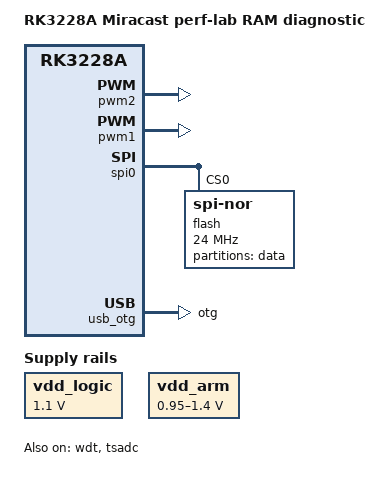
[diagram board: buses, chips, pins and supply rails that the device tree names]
// SPDX-License-Identifier: (GPL-2.0+ OR MIT)
// Graphics profile plus the stock firmware's multimedia clock plan.
#include "rk3228a-miracast-graphics.dts"
#include <dt-bindings/thermal/thermal.h>

/ {
    // The TV UI's default output is 1080p60 (rootfs/ui-session follows video=): booting the
    // console in the same mode lets the UI take over without an HDMI re-sync. No cursor.
    chosen {
        bootargs = "console=tty0 loglevel=4 printk.time=1 rdinit=/init panic=0 clk_ignore_unused pd_ignore_unused cpuidle.off=1 video=HDMI-A-1:1920x1080-16@60 vt.global_cursor_default=0 cma=16M";
    };
};
/ {
    model = "RK3228A Miracast perf-lab RAM diagnostic";
    // vdd_logic (GPU, VOP, DDR controller) from the stock DTB: PWM2 (GPIO1_B4,
    // same pin/function as upstream pwm2_pin), 25 us period, 1.0..1.3 V,
    // coefficient 300 => linear 3 mV per duty-%. Polarity is unconfirmed, but
    // 50 % duty is the midpoint of the range under either polarity: 1.15 V,
    // the stock voltage for GPU 500/600 MHz (400 MHz needed 1.10 V).
    // Per-OPP voltage assumes the stock driver formula (duty% = (1.3 V - V) / 3 mV,
    // i.e. more duty = lower voltage: 1.10 V = 67 %, 1.05 V = 83 %). If the
    // polarity is the opposite, 67 % / 83 % give 1.20 / 1.25 V instead: still
    // inside the stock 1.0..1.3 V range, only hotter. The 400 MHz point stays at
    // the polarity-independent 50 %. A fixed-load temperature A/B at 200 vs 400
    // MHz tells which way it is (lower voltage => cooler).
    // Lower points (83 % and 67 % duty) each ended in a boot stall at a random
    // point soon after the regulator was set (11 Nov), consistent with too little
    // voltage under the stock formula (stock applied +50..100 mV leakage adjust
    // to its DDR table). Back to the proven fixed 1.15 V for every OPP.
    vdd_logic: regulator-vdd-logic {
        compatible = "pwm-regulator";
        pwms = <&pwm2 0 25000 0>;
        regulator-name = "vdd_logic";
        // Polarity measured 12 Nov (idle thermal A/B: duty 60 % ran 3 C cooler
        // than 40 %): V = 1.30 V - 0.30 V * duty, as for vdd_arm. Floor measured
        // with memtest + GPU soak at 93-95 C: 1.050 V 243 DRAM errors, 1.075 V
        // 1 error, 1.100 V clean for 5 min (all the bit 1/17 DQ signature; the
        // DDR controller/PHY sets the floor, not the GPU, at DDR600).
        // With DDR533 (default since 12 Nov) heavy 4-thread memtest was clean at
        // 1.05 and 1.10 V; 1.10 V = stock voltage for GPU 400 MHz, and 50 mV above
        // a clean point. 67 % duty = 1.099 V.
        voltage-table = <1100000 67>;
        regulator-min-microvolt = <1100000>;
        regulator-max-microvolt = <1100000>;
        regulator-settling-time-up-us = <2000>;
        regulator-always-on;
        regulator-boot-on;
    };
    // vdd_arm from the stock DTB: PWM1 (GPIO0_D6, same as upstream pwm1_pin),
    // 2 us period, 0.95..1.40 V, linear. Polarity measured 12 Nov (thermal A/B
    // at a fixed 408 MHz 4-core load: duty 33 % ran 5 C hotter than 67 %):
    // V = 1.40 V - 0.45 V * duty, the stock driver formula. Continuous mode:
    // 100 % duty = 0.95 V, 0 % = 1.40 V.
    vdd_arm: regulator-vdd-arm {
        compatible = "pwm-regulator";
        pwms = <&pwm1 0 2000 0>;
        regulator-name = "vdd_arm";
        pwm-dutycycle-range = <100 0>;
        regulator-min-microvolt = <950000>;
        regulator-max-microvolt = <1400000>;
        regulator-settling-time-up-us = <1000>;
        regulator-always-on;
        regulator-boot-on;
    };
    // Stock CPU DVFS points (408/600/816 MHz) at the fixed vdd_arm above.
    // CPU DVFS: stock 408/600/816 MHz needed 0.95/0.975/1.00 V (+ leakage
    // adjust up to 150 mV); start at stock + ~50..100 mV. 1008/1200 MHz are the
    // upstream rk322x points (1.175/1.275 V), left out until validated.
    cpu_opp_lab: opp-table-cpu-lab {
        compatible = "operating-points-v2";
        opp-shared;
        opp-408000000 { opp-hz = /bits/ 64 <408000000>; opp-microvolt = <1000000>; clock-latency-ns = <40000>; };
        opp-600000000 { opp-hz = /bits/ 64 <600000000>; opp-microvolt = <1050000>; clock-latency-ns = <40000>; };
        opp-816000000 { opp-hz = /bits/ 64 <816000000>; opp-microvolt = <1100000>; clock-latency-ns = <40000>; };
        // NOT YET VALIDATED (run, but DRAM errors masked the CPU result):
        // opp-1008000000 @ 1175000, opp-1200000000 @ 1275000 (upstream points).
    };
    // Booting without clk_ignore_unused/pd_ignore_unused stalled right after
    // cpufreq init (11 Nov): keep both until the culprit clock/domain is found
    // (output/experiment/ has a DTB without them).

};
&pwm2 { status = "okay"; };
&pwm1 { status = "okay"; };
// SMP (12 Nov): all four Cortex-A7 cores. There is no secure monitor, but
// Linux runs in secure SVC, so the BootROM's secondary-core mailbox works as on
// RK3036 (and as OP-TEE's RK322x PSCI uses it): after its core reset the
// secondary waits in WFE until SRAM+4 = 0xDEADBEAF, then jumps to SRAM+8.
// The CONFIG_SMP=y kernel sets ACTLR.SMP on every core itself (proc-v7) and
// the timer node is "not-fw-configured", so the secondaries need no CNTFRQ/
// CNTVOFF setup. cpu0 is back at its real MPIDR 0xf00 (the UP kernel needed 0).
/ {
    int_sram: sram@10080000 {
        compatible = "mmio-sram";
        reg = <0x10080000 0x1000>;
        #address-cells = <1>;
        #size-cells = <1>;
        ranges = <0 0x10080000 0x1000>;
        smp-sram@0 {
            compatible = "rockchip,rk3066-smp-sram";
            reg = <0x00 0x10>;
        };
    };
};
&cpu0 { reg = <0xf00>; enable-method = "rockchip,rk3036-smp"; operating-points-v2 = <&cpu_opp_lab>; cpu-supply = <&vdd_arm>; };
&cpu1 { status = "okay"; enable-method = "rockchip,rk3036-smp"; operating-points-v2 = <&cpu_opp_lab>; };
&cpu2 { status = "okay"; enable-method = "rockchip,rk3036-smp"; operating-points-v2 = <&cpu_opp_lab>; };
&cpu3 { status = "okay"; enable-method = "rockchip,rk3036-smp"; operating-points-v2 = <&cpu_opp_lab>; };
// Hardware watchdog (dw_wdt); userspace `watchdog` daemon feeds it (rootfs/init).
&wdt { status = "okay"; };
// Disabling the decoder/RGA nodes (so genpd's sync_state could power their
// domains off) was part of the stalled boots; left enabled until tested alone.
// GPU DVFS (Lima devfreq, simple_ondemand) on exact CPLL dividers, with
// per-OPP vdd_logic (above). 400 MHz soaked clean at 1.15 V;
// the remaining limit was heat (shutdown at the 90 C critical trip).
/ {
    gpu_opp_table: opp-table-gpu {
        compatible = "operating-points-v2";
        opp-200000000 { opp-hz = /bits/ 64 <200000000>; opp-microvolt = <1100000>; };
        opp-300000000 { opp-hz = /bits/ 64 <300000000>; opp-microvolt = <1100000>; };
        opp-400000000 { opp-hz = /bits/ 64 <400000000>; opp-microvolt = <1100000>; };
    };
};
&gpu {
    operating-points-v2 = <&gpu_opp_table>;
    mali-supply = <&vdd_logic>;
    #cooling-cells = <2>;
};
// Throttle instead of shutting down, using the stock thermal policy as the
// reference: stock throttled (CPU only) around target-temp 95 C and reset the
// SoC in hardware at 120 C; its GPU had no thermal limit. Here the GPU steps
// 400 -> 300 MHz at 90 C and 300 -> 200 MHz at 95 C (2 C hysteresis each).
// Above the passive trips userspace takes over (15 Nov, ../../../os/thermald.c): throttle levels at
// 100 and 104 C and an emergency cooldown at 108 C (111 C at once) that turns the video
// output off for a minute instead of rebooting. The kernel's critical trip is only the
// last resort for a dead daemon, so it moved from 110 to 115 C to leave the cooldown room
// (the daemon itself gives up at 113 C); the hardware reset moved with it to the stock
// firmware's 120 C (TSADC code table and SoC rating end at 125 C).
&cpu_alert0 { temperature = <90000>; };
&cpu_alert1 { temperature = <95000>; };
&cpu_crit { temperature = <115000>; };
&cpu_thermal {
    cooling-maps {
        map-gpu0 {
            trip = <&cpu_alert0>;
            cooling-device = <&gpu THERMAL_NO_LIMIT 1>;
        };
        map-gpu1 {
            trip = <&cpu_alert1>;
            cooling-device = <&gpu 1 THERMAL_NO_LIMIT>;
        };
        // 3 CPU OPPs (states 0..2 = 816..408 MHz): 600 MHz at 90 C, 408 MHz at
        // 95 C. Voltage follows the OPP (vdd_arm DVFS). With 1008/1200 MHz use
        // <NO_LIMIT 2> / <2 NO_LIMIT>.
        map0 { cooling-device = <&cpu0 THERMAL_NO_LIMIT 1>; };
        map1 { cooling-device = <&cpu0 1 THERMAL_NO_LIMIT>; };
    };
};
// The USB helper leaves CPLL locked at 500 MHz but in slow (24 MHz) mode with
// no users, and runs VOP/GPU AXI from GPLL 384 MHz / 2 = 192 MHz. That VOP
// rate cannot fetch 4K60 scanout (~2 GB/s). The stock vendor kernel used
// aclk_vop = 400 MHz and GPU 400..600 MHz (DVFS). Put both on CPLL = 1200 MHz
// (stock GPLL rate) so GPLL-derived bus/USB/peripheral clocks stay unchanged.
// Rates are exact CPLL dividers (index 0), so the composite keeps CPLL and
// never selects the mode-dependent HDMI PHY clock. GPU boots at 300 MHz;
// higher rates are tested at runtime (writable clk debugfs in this kernel).
&cru {
    assigned-clocks = <&cru PLL_CPLL>, <&cru ACLK_VOP_PRE>, <&cru ACLK_GPU>;
    assigned-clock-rates = <1200000000>, <400000000>, <300000000>;
};
// Temperature telemetry and a hardware over-temperature reset (120 C, the stock value;
// 115 C until 15 Nov). CRU reset mode; the OTP output pin is left unconfigured.
&tsadc {
    status = "okay";
    rockchip,hw-tshut-mode = <0>;
    rockchip,hw-tshut-temp = <120000>;
    /delete-property/ pinctrl-names;
    /delete-property/ pinctrl-0;
    /delete-property/ pinctrl-1;
    /delete-property/ pinctrl-2;
};
// SPI-NOR (W25Q128FV, 16 MiB) on spi0 cs0: only the app/config data partition
// is exposed to Linux (13 Nov, apps work). With fixed partitions and no
// partitioned master, the only MTD device is this partition (/dev/mtd0, root
// only; mtdchar is always built in 7.3, MTD block devices are off), so nothing
// below 0xc00000 (loader, both IDBlocks = button->MaskROM path, trust, kernel
// slot) is reachable from Linux; ramboot.py verify checks this DTB for it.
// JFFS2, mounted at /data by init.
// pinctrl: the NOR is on SPI0's second pin route ("spi-1": GPIO0_C7 clk,
// GPIO2_A1 tx, GPIO2_A0 rx, GPIO2_A2 cs0; GRF_COM_IOMUX bit 5, set by the
// pinctrl route table), as in boards/rk3228a-dongle/flash/stage_spi_write.c. Upstream's default
// spi-0 pins read ff ff ff (13 Nov). Never the spi-0 cs1 pin either: GPIO1_B4
// is PWM2, the vdd_logic regulator. No cs1 at all (unused).
// No quad mode (bus widths 1): the driver never sets the QE status bit.
&spi0 {
    status = "okay";
    pinctrl-0 = <&spi1_clk &spi1_tx &spi1_rx &spi1_cs0>;
    flash@0 {
        compatible = "jedec,spi-nor";
        reg = <0>;
        spi-max-frequency = <24000000>;
        spi-rx-bus-width = <1>;
        spi-tx-bus-width = <1>;
        partitions {
            compatible = "fixed-partitions";
            #address-cells = <1>;
            #size-cells = <1>;
            // 62 x 64 KiB erase blocks. Kernel slot ends below 0xc00000;
            // 0xfe0000-0x1000000 (stock misc + backup table) stays untouched.
            data@c00000 {
                label = "data";
                reg = <0xc00000 0x3e0000>;
            };
        };
    };
};
// USB OTG dual role (14 Nov, Wi-Fi). The micro-USB port reaches either the Mac (device role:
// console + Ethernet gadget, as before) or, with the dongle's original cable, the RTL8733BU
// Wi-Fi chip built into that cable (host role; the stock firmware forced host mode,
// rockchip,usb-mode = <1>). There is no ID pin to tell them apart: dwc2 starts as a device
// and rootfs/usb-role switches it through the role switch (session-valid overrides) when no
// computer enumerates the gadget. VBUS always comes from the cable (no vbus-supply here:
// the board must never drive 5 V back into it).
&usb_otg {
    dr_mode = "otg";
    usb-role-switch;
    role-switch-default-mode = "peripheral";
};
// No PHY OTG/charger state machine on this port (patch: wifi/kernel-wifi.sh): its charger
// detection powered the PHY off with the Wi-Fi cable, so host mode never started.
&u2phy0_otg {
    rockchip,controller-role;
};
